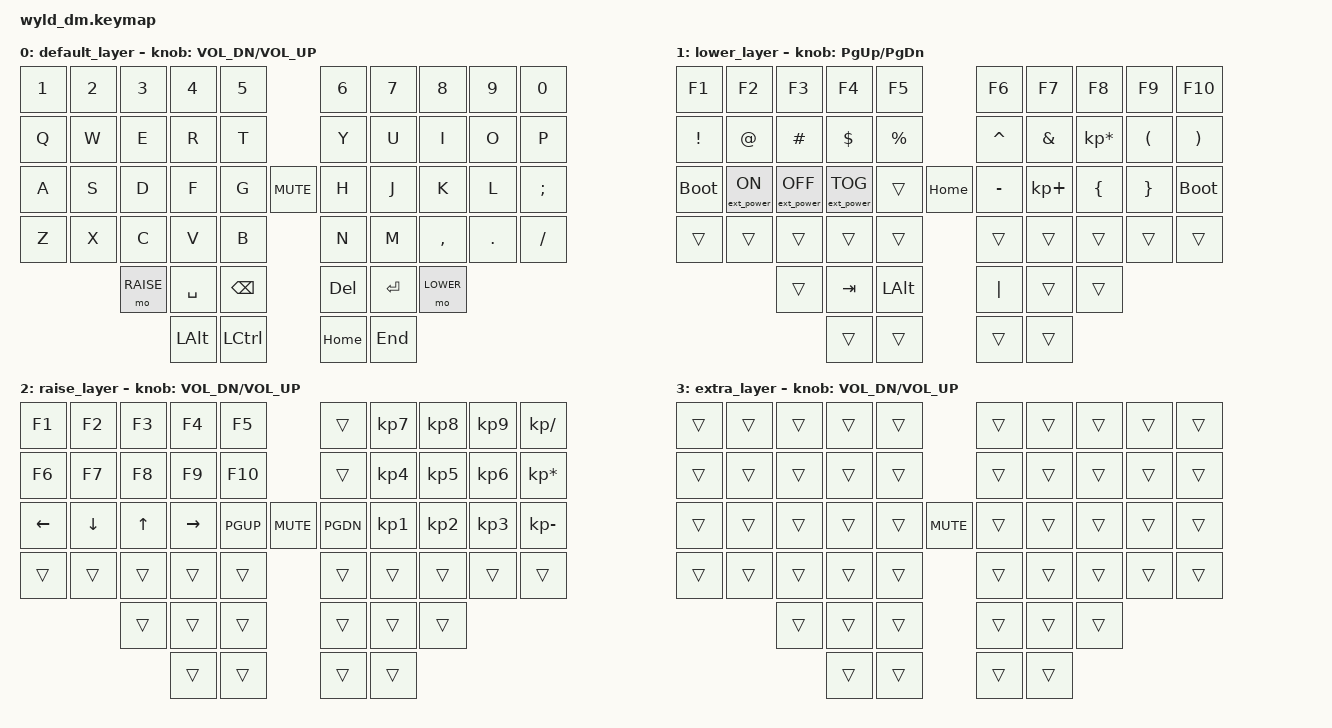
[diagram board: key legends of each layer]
/*
 * Copyright (c) 2020 The ZMK Contributors
 *
 * SPDX-License-Identifier: MIT
 */

#include <behaviors.dtsi>
#include <dt-bindings/zmk/keys.h>
#include <dt-bindings/zmk/bt.h>
#include <dt-bindings/zmk/outputs.h>
#include <dt-bindings/zmk/ext_power.h>
//#include <dt-bindings/led/led.h>
//#include <dt-bindings/zmk/mouse.h>
#include <behaviors/mouse_keys.dtsi>

#define QWERTY 0
#define LOWER 1
#define RAISE 2

//# 5x7 with encoders
/// {
//	keymap {
//		compatible = "zmk,keymap";
//
//		default_layer {
//			display-name = "QWERTY";
//
//			bindings = <
//                    &kp ESC  &kp GRAVE &kp N1 &kp N2 &kp N3   &kp N4   &kp N5                       &kp N6 &kp N7   &kp N8    &kp N9  &kp N0   &kp MINUS  &kp PLUS
//                    &trans   &kp TAB   &kp Q  &kp W  &kp E    &kp R    &kp T                        &kp Y  &kp U    &kp I     &kp O   &kp P    &kp LBKT  &kp RBKT
//                    &trans   &kp CAPS  &kp A  &kp S  &kp D    &kp F    &kp G  &kp HOME   &kp K_MUTE &kp H  &kp J    &kp K     &kp L   &kp SEMI &kp SQT   &kp BSLH
//                    &trans   &kp LSHFT &kp Z  &kp X  &kp C    &kp V    &kp B                        &kp N  &kp M    &kp COMMA &kp DOT &kp FSLH &kp RSHFT &kp KP_MULTIPLY
//                    &kp LALT &kp LCTL  &kp LGUI &kp LBKT &kp RBKT                                   &kp LBRC  &kp RBRC &kp RGUI &kp RCTL &kp RALT
//                                                    &mo RAISE &kp SPACE &kp BSPC            &kp DEL &kp ENTER  &mo LOWER
//                                                              &kp TAB   &kp LALT
//			>;
//
//			sensor-bindings = <&inc_dec_kp PG_UP PG_DN &inc_dec_kp C_VOL_DN C_VOL_UP>;p
//		};
//
//		lower_layer {
//			display-name = "LOWER";
//
//			bindings = <
//                    &kp K_MUTE   &trans            &kp F1             &kp F2             &kp F3    &kp F4     &kp F5                             &kp F6     &kp F7    &kp F8           &kp F9    &kp F10   &kp F11  &kp F12
//                    &trans       &kp GRAVE         &kp EXCL           &kp AT             &kp HASH  &kp DOLLAR &kp PRCNT                          &kp CARET  &kp AMPS  &kp KP_MULTIPLY  &kp LPAR  &kp RPAR  &trans   &trans
//                    &bootloader  &ext_power EP_ON  &ext_power EP_OFF  &ext_power EP_TOG  &trans    &trans     &trans    &trans          &trans   &trans     &kp MINUS &kp KP_PLUS      &kp LBRC  &kp RBRC  &kp PIPE &bootloader
//                    &trans       &trans            &trans             &trans             &trans    &trans     &trans                             &trans     &trans    &trans           &trans   &trans     &trans   &trans
//                    &trans       &trans            &trans             &trans             &trans                                                                       &trans           &trans   &trans     &trans   &trans
//                                                                                                    &trans  &trans  &trans                  &trans    &trans  &trans
//                                                                                                            &trans  &trans
//			>;
//
//            sensor-bindings = <&inc_dec_kp PG_UP PG_DN &inc_dec_kp C_VOL_DN C_VOL_UP>;
//		};
//
//		raise_layer {
//			display-name = "RAISE";
//
//			bindings = <
//                    &trans    &bt BT_CLR &bt BT_SEL 0 &bt BT_SEL 1 &bt BT_SEL 2 &bt BT_SEL 3 &bt BT_SEL 4                    &out OUT_BLE &out OUT_USB  &trans        &trans     &trans       &trans           &trans
//                    &trans    &trans     &trans       &trans       &trans       &trans       &kp LBKT                        &kp RBKT     &trans        &kp KP_N7     &kp KP_N8  &kp KP_N9    &kp KP_DIVIDE    &trans
//                    &trans    &kp LEFT   &kp DOWN     &kp UP       &kp RIGHT    &kp PGUP     &kp LPAR  &trans        &trans  &kp RPAR     &trans        &kp KP_N4     &kp KP_N5  &kp KP_N6    &kp KP_MULTIPLY  &trans
//                    &trans    &trans     &trans       &trans       &trans       &kp PGDN     &trans                          &trans       &trans        &kp KP_N1     &kp KP_N2  &kp KP_N3    &kp KP_MINUS     &trans
//                    &trans    &trans     &trans       &trans       &trans                                                                               &kp KP_N0     &kp KP_DOT &kp KP_EQUAL &kp KP_PLUS      &trans
//                                                                                      &trans  &trans  &trans            &trans    &trans  &trans
//                                                                                              &trans  &trans
//			>;
//
//            sensor-bindings = <&inc_dec_kp PG_UP PG_DN &inc_dec_kp C_VOL_DN C_VOL_UP>;
//		};
//	};
//};

// 3x5
/ {
	keymap {
		compatible = "zmk,keymap";

		default_layer {

			bindings = <
                    &kp N1 &kp N2 &kp N3   &kp N4   &kp N5                  &kp N6 &kp N7   &kp N8    &kp N9  &kp N0
                    &kp Q  &kp W  &kp E    &kp R    &kp T                   &kp Y  &kp U    &kp I     &kp O   &kp P
                    &kp A  &kp S  &kp D    &kp F    &kp G       &kp K_MUTE  &kp H  &kp J    &kp K     &kp L   &kp SEMI
                    &kp Z  &kp X  &kp C    &kp V    &kp B                   &kp N  &kp M    &kp COMMA &kp DOT &kp FSLH
                                  &mo RAISE &kp SPACE &kp BSPC           &kp DEL &kp ENTER  &mo LOWER
                                            &kp LALT &kp LCTRL           &kp HOME &kp END
			>;

            sensor-bindings = <&inc_dec_kp C_VOL_DN C_VOL_UP>;
		};

		lower_layer {

			bindings = <
                    &kp F1      &kp F2           &kp F3             &kp F4             &kp F5                &kp F6     &kp F7      &kp F8           &kp F9    &kp F10
                    &kp EXCL    &kp AT           &kp HASH           &kp DOLLAR         &kp PRCNT             &kp CARET  &kp AMPS    &kp KP_MULTIPLY  &kp LPAR  &kp RPAR
                    &bootloader &ext_power EP_ON &ext_power EP_OFF  &ext_power EP_TOG  &trans       &kp HOME &kp MINUS  &kp KP_PLUS &kp LBRC         &kp RBRC  &bootloader
                    &trans      &trans           &trans             &trans             &trans                &trans     &trans      &trans           &trans    &trans
                                                   &trans             &kp TAB            &kp LALT          &kp PIPE    &trans  &trans
                                                                      &trans             &trans            &trans      &trans
			>;
            sensor-bindings = <&inc_dec_kp PG_UP PG_DN>;
		};

		raise_layer {

			bindings = <
                    &kp F1    &kp F2    &kp F3   &kp F4     &kp F5                  &trans    &kp KP_N7   &kp KP_N8  &kp KP_N9    &kp KP_DIVIDE
                    &kp F6    &kp F7    &kp F8   &kp F9     &kp F10                 &trans    &kp KP_N4   &kp KP_N5  &kp KP_N6    &kp KP_MULTIPLY
                    &kp LEFT  &kp DOWN  &kp UP   &kp RIGHT  &kp PGUP    &kp K_MUTE  &kp PGDN  &kp KP_N1   &kp KP_N2  &kp KP_N3    &kp KP_MINUS
                    &trans    &trans    &trans   &trans     &trans                  &trans    &trans      &trans     &trans       &trans
                                          &trans  &trans        &trans            &trans    &trans      &trans
                                                   &trans       &trans            &trans    &trans
			>;

            sensor-bindings = <&inc_dec_kp C_VOL_DN C_VOL_UP>;
		};

        extra_layer {
            bindings = <
                    &trans     &trans  &trans  &trans     &trans               &trans  &trans  &trans  &trans  &trans
                    &trans     &trans  &trans  &trans     &trans               &trans  &trans  &trans  &trans  &trans
                    &trans     &trans  &trans  &trans     &trans   &kp K_MUTE  &trans  &trans  &trans  &trans  &trans
                    &trans     &trans  &trans  &trans     &trans               &trans  &trans  &trans  &trans  &trans
                                       &trans  &trans     &trans               &trans &trans  &trans
                                               &trans     &trans               &trans &trans
            >;

            sensor-bindings = <&inc_dec_kp C_VOL_DN C_VOL_UP>;
        };
	};
};

//&led_strip {
//    chain-length = <80>;
//};


